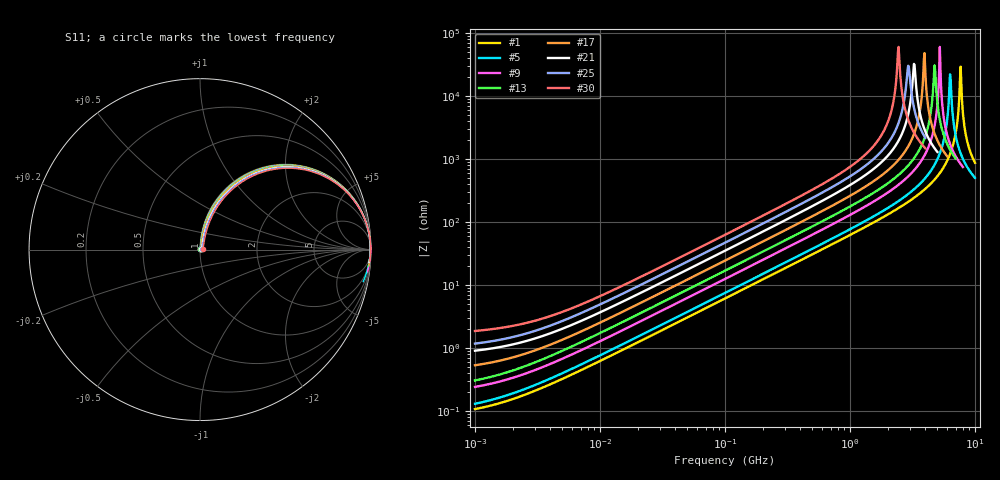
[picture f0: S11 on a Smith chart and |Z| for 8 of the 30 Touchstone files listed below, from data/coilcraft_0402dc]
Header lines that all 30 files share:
# MHz  S  MA  R  50
!Freq  MagS11  AngS11  MagS21  AngS21  MagS12  AngS12  MagS22  AngS22
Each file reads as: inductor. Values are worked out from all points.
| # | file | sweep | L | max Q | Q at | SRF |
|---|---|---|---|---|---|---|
| 1 | 0402DC-9N8.s2p | 1 MHz to 10 GHz | 9.8 nH | 146 | 2.513 GHz | 7.589 GHz |
| 2 | 0402DC-9N9.s2p | 1 MHz to 10 GHz | 9.9 nH | 147 | 2.484 GHz | 7.589 GHz |
| 3 | 0402DC-10N.s2p | 1 MHz to 10 GHz | 10 nH | 147 | 2.4 GHz | 7.589 GHz |
| 4 | 0402DC-11N.s2p | 1 MHz to 10 GHz | 11 nH | 126 | 2.427 GHz | 6.921 GHz |
| 5 | 0402DC-12N.s2p | 1 MHz to 10 GHz | 12 nH | 102 | 2.09 GHz | 6.312 GHz |
| 6 | 0402DC-15N.s2p | 1 MHz to 9 GHz | 15 nH | 106 | 2.175 GHz | 6.271 GHz |
| 7 | 0402DC-16N.s2p | 1 MHz to 9 GHz | 16 nH | 101 | 2.055 GHz | 6.271 GHz |
| 8 | 0402DC-18N.s2p | 1 MHz to 8 GHz | 18 nH | 97.1 | 2.035 GHz | 5.723 GHz |
| 9 | 0402DC-20N.s2p | 1 MHz to 8 GHz | 20 nH | 94.5 | 2.058 GHz | 5.231 GHz |
| 10 | 0402DC-22N.s2p | 1 MHz to 7 GHz | 22 nH | 87.3 | 1.836 GHz | 5.198 GHz |
| 11 | 0402DC-23N.s2p | 1 MHz to 7 GHz | 23 nH | 87.7 | 1.737 GHz | 5.198 GHz |
| 12 | 0402DC-24N.s2p | 1 MHz to 7 GHz | 24 nH | 80.8 | 1.699 GHz | 4.757 GHz |
| 13 | 0402DC-27N.s2p | 1 MHz to 7 GHz | 27 nH | 80.6 | 1.573 GHz | 4.757 GHz |
| 14 | 0402DC-30N.s2p | 1 MHz to 7 GHz | 30 nH | 74.8 | 1.455 GHz | 4.306 GHz |
| 15 | 0402DC-33N.s2p | 1 MHz to 6 GHz | 33 nH | 75.8 | 1.564 GHz | 4.303 GHz |
| 16 | 0402DC-36N.s2p | 1 MHz to 6 GHz | 36 nH | 71.3 | 1.531 GHz | 3.902 GHz |
| 17 | 0402DC-39N.s2p | 1 MHz to 6 GHz | 39 nH | 69.2 | 1.466 GHz | 3.902 GHz |
| 18 | 0402DC-43N.s2p | 1 MHz to 5 GHz | 43 nH | 65.7 | 1.313 GHz | 3.892 GHz |
| 19 | 0402DC-47N.s2p | 1 MHz to 5 GHz | 47 nH | 60 | 1.193 GHz | 3.248 GHz |
| 20 | 0402DC-51N.s2p | 1 MHz to 5 GHz | 51 nH | 59.3 | 1.168 GHz | 3.248 GHz |
| 21 | 0402DC-56N.s2p | 1 MHz to 5 GHz | 56 nH | 56.6 | 1.131 GHz | 3.248 GHz |
| 22 | 0402DC-62N.s2p | 1 MHz to 5 GHz | 62 nH | 55.1 | 1.156 GHz | 3.282 GHz |
| 23 | 0402DC-68N.s2p | 1 MHz to 5 GHz | 68 nH | 53.7 | 894.8 MHz | 2.858 GHz |
| 24 | 0402DC-72N.s2p | 1 MHz to 4 GHz | 72 nH | 55 | 992.3 MHz | 2.919 GHz |
| 25 | 0402DC-75N.s2p | 1 MHz to 4 GHz | 75 nH | 52.5 | 971.9 MHz | 2.919 GHz |
| 26 | 0402DC-82N.s2p | 1 MHz to 4 GHz | 82 nH | 51.3 | 992.3 MHz | 2.659 GHz |
| 27 | 0402DC-91N.s2p | 1 MHz to 4 GHz | 91 nH | 48.2 | 913.3 MHz | 2.632 GHz |
| 28 | 0402DC-N80.s2p | 1 MHz to 26 GHz | 800 pH | 171 | 7.545 GHz | - |
| 29 | 0402DC-N90.s2p | 1 MHz to 26 GHz | 900 pH | 144 | 7.739 GHz | - |
| 30 | 0402DC-R10.s2p | 1 MHz to 4 GHz | 100 nH | 51.2 | 952 MHz | 2.422 GHz |
